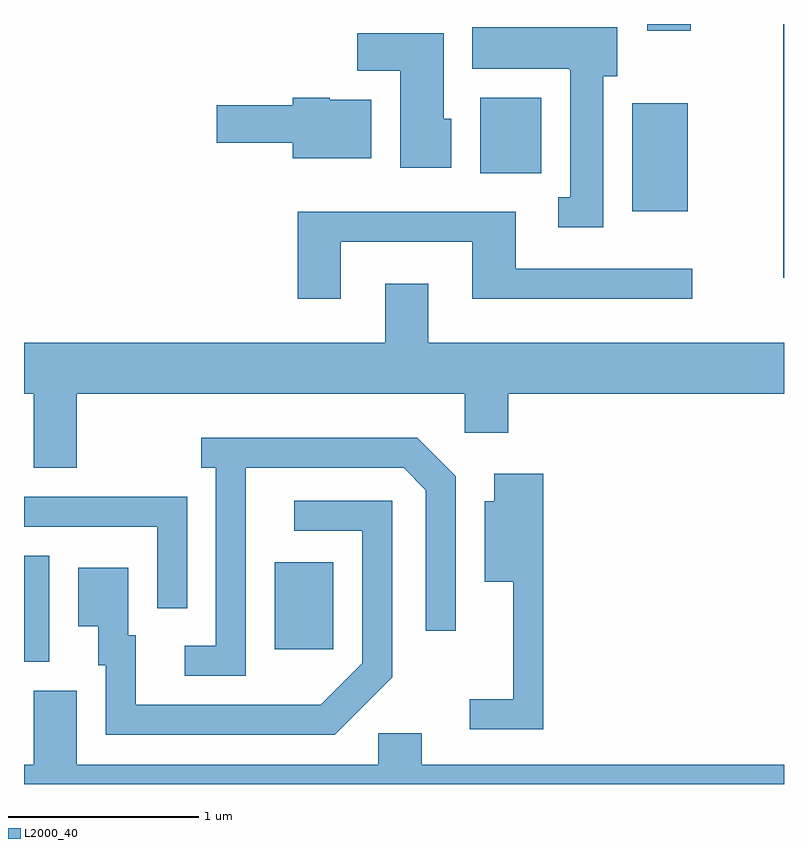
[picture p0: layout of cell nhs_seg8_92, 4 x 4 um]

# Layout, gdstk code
import gdstk
lib = gdstk.Library(unit=1e-6, precision=1e-09)
def R(c, l, rs):  # rectangles x0, y0, x1, y1
    for r in rs: c.add(gdstk.rectangle(r[:2], r[2:], *l))
def P(c, l, *ps):  # polygons
    for p in ps: c.add(gdstk.Polygon(p, *l))
L2000_40 = (2000, 40)

nhs_seg8_92 = lib.new_cell('nhs_seg8_92')
R(nhs_seg8_92, L2000_40, [(187.611,1854.986,187.744,1855.544), (188.931,1855.051,189.239,1855.509), (191.606,1857.006,191.611,1858.342), (190.811,1857.356,191.104,1857.924), (190.011,1857.556,190.334,1857.954), (190.891,1858.306,191.119,1858.342)])
P(nhs_seg8_92, L2000_40, [(190.659,1858.066),(190.734,1858.066),(190.734,1858.324),(189.971,1858.324),(189.971,1858.106),(190.48,1858.106),(190.48,1858.1),(190.486,1858.1),(190.486,1857.429),(190.423,1857.429),(190.423,1857.271),(190.659,1857.271)],
  [(189.859,1857.844),(189.819,1857.844),(189.819,1858.294),(189.366,1858.294),(189.366,1858.096),(189.591,1858.096),(189.591,1857.586),(189.859,1857.586)],
  [(189.439,1857.944),(189.22,1857.944),(189.22,1857.954),(189.026,1857.954),(189.026,1857.914),(188.626,1857.914),(188.626,1857.716),(189.026,1857.716),(189.026,1857.636),(189.439,1857.636)],
  [(189.279,1857.196),(189.971,1857.196),(189.971,1856.896),(191.128,1856.896),(191.128,1857.054),(190.199,1857.054),(190.199,1857.354),(189.051,1857.354),(189.051,1856.896),(189.279,1856.896)],
  [(187.889,1856.396),(189.931,1856.396),(189.931,1856.191),(190.159,1856.191),(190.159,1856.396),(191.611,1856.396),(191.611,1856.664),(189.739,1856.664),(189.739,1856.974),(189.511,1856.974),(189.511,1856.664),(187.611,1856.664),(187.611,1856.396),(187.661,1856.396),(187.661,1856.006),(187.889,1856.006)],
  [(188.779,1856.006),(189.609,1856.006),(189.726,1855.889),(189.726,1855.148),(189.884,1855.148),(189.884,1855.962),(189.682,1856.164),(188.543,1856.164),(188.543,1856.006),(188.621,1856.006),(188.621,1855.069),(188.458,1855.069),(188.458,1854.911),(188.779,1854.911)],
  [(190.344,1855.974),(190.086,1855.974),(190.086,1855.829),(190.036,1855.829),(190.036,1855.406),(190.186,1855.406),(190.186,1854.789),(189.958,1854.789),(189.958,1854.631),(190.344,1854.631)],
  [(188.469,1855.854),(187.611,1855.854),(187.611,1855.696),(188.311,1855.696),(188.311,1855.268),(188.469,1855.268)],
  [(189.549,1854.904),(189.549,1855.834),(189.033,1855.834),(189.033,1855.676),(189.391,1855.676),(189.391,1854.977),(189.174,1854.759),(188.199,1854.759),(188.199,1855.124),(188.159,1855.124),(188.159,1855.479),(187.896,1855.479),(187.896,1855.171),(188.001,1855.171),(188.001,1854.966),(188.041,1854.966),(188.041,1854.601),(189.247,1854.601)],
  [(191.611,1854.444),(189.704,1854.444),(189.704,1854.609),(189.476,1854.609),(189.476,1854.444),(187.889,1854.444),(187.889,1854.834),(187.661,1854.834),(187.661,1854.444),(187.611,1854.444),(187.611,1854.342),(191.611,1854.342)])

lib.write_gds('nhs_seg8_92.gds')
